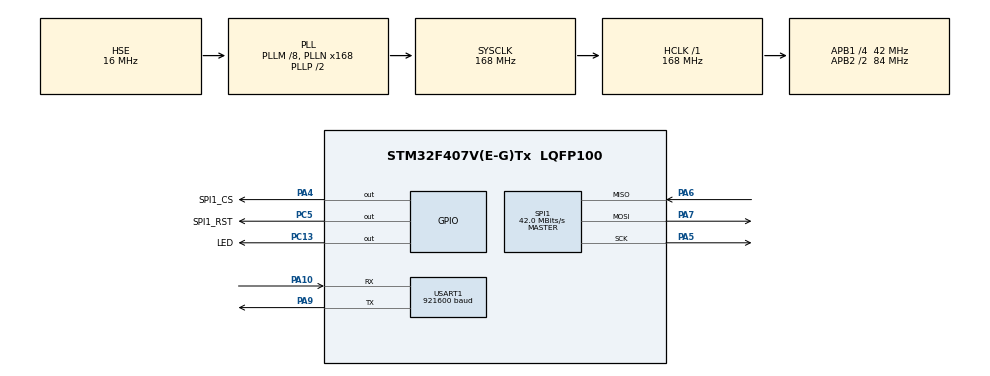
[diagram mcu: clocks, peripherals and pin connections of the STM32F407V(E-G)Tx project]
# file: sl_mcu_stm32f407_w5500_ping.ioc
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Mcu.Family=STM32F4
Mcu.Name=STM32F407V(E-G)Tx
Mcu.Package=LQFP100
NVIC.PriorityGroup=NVIC_PRIORITYGROUP_4
PA10.Mode=Asynchronous
PA10.Signal=USART1_RX
PA13.Mode=Trace_Asynchronous_SW
PA13.Signal=SYS_JTMS-SWDIO
PA14.Mode=Trace_Asynchronous_SW
PA14.Signal=SYS_JTCK-SWCLK
PA4.GPIO_Label=SPI1_CS
PA4.Signal=GPIO_Output
PA5.Mode=Full_Duplex_Master
PA5.Signal=SPI1_SCK
PA6.Mode=Full_Duplex_Master
PA6.Signal=SPI1_MISO
PA7.Mode=Full_Duplex_Master
PA7.Signal=SPI1_MOSI
PA9.Mode=Asynchronous
PA9.Signal=USART1_TX
PB3.Mode=Trace_Asynchronous_SW
PB3.Signal=SYS_JTDO-SWO
PC13-ANTI_TAMP.GPIO_Label=LED
PC13-ANTI_TAMP.GPIO_ModeDefaultOutputPP=GPIO_MODE_OUTPUT_OD
PC13-ANTI_TAMP.GPIO_PuPd=GPIO_NOPULL
PC13-ANTI_TAMP.PinState=GPIO_PIN_SET
PC13-ANTI_TAMP.Signal=GPIO_Output
PC5.GPIO_Label=SPI1_RST
PC5.Signal=GPIO_Output
PH0-OSC_IN.Mode=HSE-External-Oscillator
PH0-OSC_IN.Signal=RCC_OSC_IN
PH1-OSC_OUT.Mode=HSE-External-Oscillator
PH1-OSC_OUT.Signal=RCC_OSC_OUT
ProjectManager.HeapSize=0x200
ProjectManager.StackSize=0x400
ProjectManager.TargetToolchain=STM32CubeIDE
RCC.48MHZClocksFreq_Value=48000000
RCC.AHBFreq_Value=168000000
RCC.APB1CLKDivider=RCC_HCLK_DIV4
RCC.APB1Freq_Value=42000000
RCC.APB1TimFreq_Value=84000000
RCC.APB2CLKDivider=RCC_HCLK_DIV2
RCC.APB2Freq_Value=84000000
RCC.APB2TimFreq_Value=168000000
RCC.CortexFreq_Value=168000000
RCC.HCLKFreq_Value=168000000
RCC.HSE_VALUE=16000000
RCC.HSI_VALUE=16000000
RCC.LSE_VALUE=32768
RCC.PLLM=8
RCC.PLLN=168
RCC.PLLQ=7
RCC.PLLSourceVirtual=RCC_PLLSOURCE_HSE
RCC.SYSCLKFreq_VALUE=168000000
RCC.SYSCLKSource=RCC_SYSCLKSOURCE_PLLCLK
RCC.VCOOutputFreq_Value=336000000
SPI1.CalculateBaudRate=42.0 MBits/s
SPI1.Direction=SPI_DIRECTION_2LINES
SPI1.Mode=SPI_MODE_MASTER
SPI1.VirtualType=VM_MASTER
USART1.BaudRate=921600
USART1.OverSampling=UART_OVERSAMPLING_8
USART1.VirtualMode=VM_ASYNC
board=custom

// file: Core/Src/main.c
/* USER CODE BEGIN Header */
/**
 ******************************************************************************
 * @file           : main.c
 * @brief          : Main program body
 ******************************************************************************
 * @attention
 *
 * Copyright (c) 2026 STM32World <lth@stm32world.com>
 * All rights reserved.
 *
 * This software is licensed under terms that can be found in the LICENSE file
 * in the root directory of this software component.
 * If no LICENSE file comes with this software, it is provided AS-IS.
 *
 ******************************************************************************
 */
/* USER CODE END Header */
#include "main.h"

/* USER CODE BEGIN Includes */
#include <stdio.h>
#include "wizchip_port.h"
/* USER CODE END Includes */

SPI_HandleTypeDef hspi1;

UART_HandleTypeDef huart1;

void SystemClock_Config(void);
static void MX_GPIO_Init(void);
static void MX_USART1_UART_Init(void);
static void MX_SPI1_Init(void);

/* USER CODE BEGIN 0 */

// Send printf to uart1
int __io_putchar(int ch) {
    if (ch == '\n') {
        HAL_UART_Transmit(&huart1, (uint8_t*) "\r", 1, HAL_MAX_DELAY);
    }
    if (HAL_UART_Transmit(&huart1, (uint8_t*) &ch, 1, HAL_MAX_DELAY) != HAL_OK) {
        return -1;
    }
    return ch;
}

/* USER CODE END 0 */

int main(void)
{

  /* MCU Configuration--------------------------------------------------------*/

  /* Reset of all peripherals, Initializes the Flash interface and the Systick. */
  HAL_Init();

  /* Configure the system clock */
  SystemClock_Config();

  /* Initialize all configured peripherals */
  MX_GPIO_Init();
  MX_USART1_UART_Init();
  MX_SPI1_Init();
  /* USER CODE BEGIN 2 */

    printf("\n\n\n--------\nStarting W5500 Ethernet Test\n");

    W5500_Init();

  /* USER CODE END 2 */

  /* Infinite loop */
  /* USER CODE BEGIN WHILE */

    uint32_t now = 0, loop_cnt = 0, next_blink = 500, next_tick = 1000;

    while (1) {

        now = uwTick;

        if (now >= next_blink) {
            HAL_GPIO_TogglePin(LED_GPIO_Port, LED_Pin);
            next_blink += 500;
        }

        if (now >= next_tick) {

            printf("Tick %lu (loop = %lu)\n",
                    now / 1000, loop_cnt);

            loop_cnt = 0;
            next_tick = now + 1000;

        }

        ++loop_cnt;

    /* USER CODE END WHILE */

    }
}

void SystemClock_Config(void)
{
  RCC_OscInitTypeDef RCC_OscInitStruct = {0};
  RCC_ClkInitTypeDef RCC_ClkInitStruct = {0};

  /** Configure the main internal regulator output voltage
  */
  __HAL_RCC_PWR_CLK_ENABLE();
  __HAL_PWR_VOLTAGESCALING_CONFIG(PWR_REGULATOR_VOLTAGE_SCALE1);

  /** Initializes the RCC Oscillators according to the specified parameters
  * in the RCC_OscInitTypeDef structure.
  */
  RCC_OscInitStruct.OscillatorType = RCC_OSCILLATORTYPE_HSE;
  RCC_OscInitStruct.HSEState = RCC_HSE_ON;
  RCC_OscInitStruct.PLL.PLLState = RCC_PLL_ON;
  RCC_OscInitStruct.PLL.PLLSource = RCC_PLLSOURCE_HSE;
  RCC_OscInitStruct.PLL.PLLM = 8;
  RCC_OscInitStruct.PLL.PLLN = 168;
  RCC_OscInitStruct.PLL.PLLP = RCC_PLLP_DIV2;
  RCC_OscInitStruct.PLL.PLLQ = 7;
  if (HAL_RCC_OscConfig(&RCC_OscInitStruct) != HAL_OK)
  {
    Error_Handler();
  }

  /** Initializes the CPU, AHB and APB buses clocks
  */
  RCC_ClkInitStruct.ClockType = RCC_CLOCKTYPE_HCLK|RCC_CLOCKTYPE_SYSCLK
                              |RCC_CLOCKTYPE_PCLK1|RCC_CLOCKTYPE_PCLK2;
  RCC_ClkInitStruct.SYSCLKSource = RCC_SYSCLKSOURCE_PLLCLK;
  RCC_ClkInitStruct.AHBCLKDivider = RCC_SYSCLK_DIV1;
  RCC_ClkInitStruct.APB1CLKDivider = RCC_HCLK_DIV4;
  RCC_ClkInitStruct.APB2CLKDivider = RCC_HCLK_DIV2;

  if (HAL_RCC_ClockConfig(&RCC_ClkInitStruct, FLASH_LATENCY_5) != HAL_OK)
  {
    Error_Handler();
  }
}

static void MX_SPI1_Init(void)
{

  /* SPI1 parameter configuration*/
  hspi1.Instance = SPI1;
  hspi1.Init.Mode = SPI_MODE_MASTER;
  hspi1.Init.Direction = SPI_DIRECTION_2LINES;
  hspi1.Init.DataSize = SPI_DATASIZE_8BIT;
  hspi1.Init.CLKPolarity = SPI_POLARITY_LOW;
  hspi1.Init.CLKPhase = SPI_PHASE_1EDGE;
  hspi1.Init.NSS = SPI_NSS_SOFT;
  hspi1.Init.BaudRatePrescaler = SPI_BAUDRATEPRESCALER_2;
  hspi1.Init.FirstBit = SPI_FIRSTBIT_MSB;
  hspi1.Init.TIMode = SPI_TIMODE_DISABLE;
  hspi1.Init.CRCCalculation = SPI_CRCCALCULATION_DISABLE;
  hspi1.Init.CRCPolynomial = 10;
  if (HAL_SPI_Init(&hspi1) != HAL_OK)
  {
    Error_Handler();
  }

}

static void MX_USART1_UART_Init(void)
{

  huart1.Instance = USART1;
  huart1.Init.BaudRate = 921600;
  huart1.Init.WordLength = UART_WORDLENGTH_8B;
  huart1.Init.StopBits = UART_STOPBITS_1;
  huart1.Init.Parity = UART_PARITY_NONE;
  huart1.Init.Mode = UART_MODE_TX_RX;
  huart1.Init.HwFlowCtl = UART_HWCONTROL_NONE;
  huart1.Init.OverSampling = UART_OVERSAMPLING_8;
  if (HAL_UART_Init(&huart1) != HAL_OK)
  {
    Error_Handler();
  }

}

static void MX_GPIO_Init(void)
{
  GPIO_InitTypeDef GPIO_InitStruct = {0};

  /* GPIO Ports Clock Enable */
  __HAL_RCC_GPIOC_CLK_ENABLE();
  __HAL_RCC_GPIOH_CLK_ENABLE();
  __HAL_RCC_GPIOA_CLK_ENABLE();
  __HAL_RCC_GPIOB_CLK_ENABLE();

  /*Configure GPIO pin Output Level */
  HAL_GPIO_WritePin(LED_GPIO_Port, LED_Pin, GPIO_PIN_SET);

  /*Configure GPIO pin Output Level */
  HAL_GPIO_WritePin(SPI1_CS_GPIO_Port, SPI1_CS_Pin, GPIO_PIN_RESET);

  /*Configure GPIO pin Output Level */
  HAL_GPIO_WritePin(SPI1_RST_GPIO_Port, SPI1_RST_Pin, GPIO_PIN_RESET);

  /*Configure GPIO pin : LED_Pin */
  GPIO_InitStruct.Pin = LED_Pin;
  GPIO_InitStruct.Mode = GPIO_MODE_OUTPUT_OD;
  GPIO_InitStruct.Pull = GPIO_NOPULL;
  GPIO_InitStruct.Speed = GPIO_SPEED_FREQ_LOW;
  HAL_GPIO_Init(LED_GPIO_Port, &GPIO_InitStruct);

  /*Configure GPIO pin : SPI1_CS_Pin */
  GPIO_InitStruct.Pin = SPI1_CS_Pin;
  GPIO_InitStruct.Mode = GPIO_MODE_OUTPUT_PP;
  GPIO_InitStruct.Pull = GPIO_NOPULL;
  GPIO_InitStruct.Speed = GPIO_SPEED_FREQ_LOW;
  HAL_GPIO_Init(SPI1_CS_GPIO_Port, &GPIO_InitStruct);

  /*Configure GPIO pin : SPI1_RST_Pin */
  GPIO_InitStruct.Pin = SPI1_RST_Pin;
  GPIO_InitStruct.Mode = GPIO_MODE_OUTPUT_PP;
  GPIO_InitStruct.Pull = GPIO_NOPULL;
  GPIO_InitStruct.Speed = GPIO_SPEED_FREQ_LOW;
  HAL_GPIO_Init(SPI1_RST_GPIO_Port, &GPIO_InitStruct);

}

void Error_Handler(void)
{
    __disable_irq();
    while (1)
    {
    }
}
